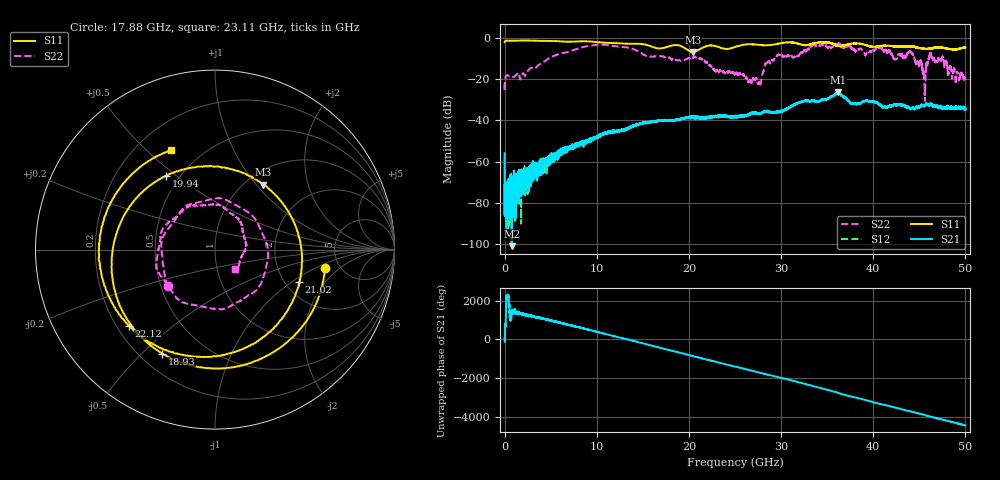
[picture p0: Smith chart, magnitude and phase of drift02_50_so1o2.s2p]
!Created with skrf (http://scikit-rf.org).
# Hz S RI R 50.0
!freq ReS11 ImS11 ReS21 ImS21 ReS12 ImS12 ReS22 ImS22
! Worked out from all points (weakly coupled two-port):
!   10001 points, 300 kHz to 50 GHz, reference 50 ohm
!   highest |S21| = -26.31 dB at 36.17 GHz (marker M1); lowest = -101.0 dB at 770.3 MHz (marker M2)
!   lowest |S11| = -6.9 dB at 20.44 GHz (marker M3), VSWR 2.64, Z = 59.8 + j54.3 ohm
!   |S11| at or under -10 dB: nowhere
!   |S22| runs from -30.6 to -2.6 dB; largest |S21 - S12| = 0.0051
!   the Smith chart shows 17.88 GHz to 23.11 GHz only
!   S11 on the Smith chart (normalised r, x): 17.88 GHz: 3.82, -1.31; 18.93 GHz: 0.29, -0.58; 19.94 GHz: 0.42, +0.46; 21.02 GHz: 2.37, -1.16; 22.12 GHz: 0.25, -0.36; 23.11 GHz: 0.34, +0.59
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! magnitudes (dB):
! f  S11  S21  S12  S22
! 300 kHz  -2.1  -55.9  -58.9  -21.9
! 255.3 MHz  -1.4  -75.3  -71.5  -18.2
! 770.3 MHz  -1.5  -101.0  -75.7  -19.1
! 8.335 GHz  -1.7  -51.0  -51.4  -4.7
! 16.67 GHz  -5.2  -40.4  -40.5  -9.0
! 17.88 GHz  -4.1  -40.0  -39.9  -9.6
! 18.93 GHz  -3.8  -39.6  -39.6  -10.8
! 19.94 GHz  -6.1  -38.7  -38.6  -9.9
! 20.44 GHz  -6.9  -38.9  -38.7  -9.7
! 21.02 GHz  -6.0  -38.7  -38.7  -9.5
! 22.12 GHz  -3.9  -39.0  -38.8  -12.7
! 23.11 GHz  -4.4  -37.6  -38.1  -16.2
! 25 GHz  -4.5  -37.9  -38.3  -17.8
! 27.63 GHz  -3.5  -36.6  -36.8  -21.4
! 29.54 GHz  -3.0  -36.2  -36.1  -8.8
! 33.34 GHz  -3.0  -30.6  -30.6  -3.8
! 36.17 GHz  -3.9  -26.3  -27.2  -3.0
! 41.67 GHz  -3.9  -33.2  -33.4  -6.0
! 44.14 GHz  -4.3  -34.4  -34.4  -7.1
! 45.5 GHz  -5.4  -33.2  -32.6  -17.1
! 46.27 GHz  -5.3  -32.3  -32.4  -8.1
! 50 GHz  -4.7  -34.7  -34.3  -19.7
